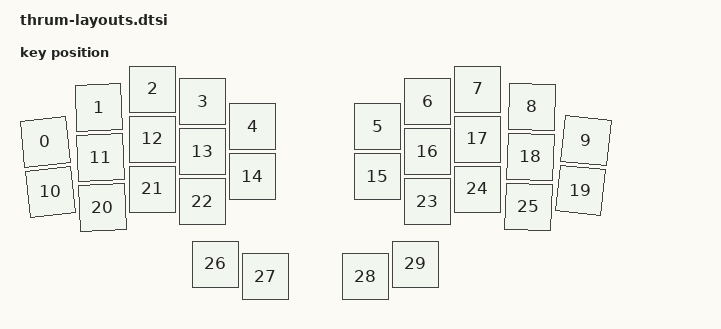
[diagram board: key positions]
#include <physical_layouts.dtsi>

/ {
    physical_layout0: physical_layout_0 {
        compatible = "zmk,physical-layout";
        display-name = "LAYOUT";

//        kscan = <&kscan0>;
//        transform = <&matrix_transform0>;

        keys  //                     w   h    x    y     rot    rx    ry
            = <&key_physical_attrs 100 100    0  100  (-600)   100   300>
            , <&key_physical_attrs 100 100  100   35  (-200)   200   325>
            , <&key_physical_attrs 100 100  200    0       0     0     0>
            , <&key_physical_attrs 100 100  300   25       0     0     0>
            , <&key_physical_attrs 100 100  400   75       0     0     0>
            , <&key_physical_attrs 100 100  650   75       0     0     0>
            , <&key_physical_attrs 100 100  750   25       0     0     0>
            , <&key_physical_attrs 100 100  850    0       0     0     0>
            , <&key_physical_attrs 100 100  950   35     200   975   325>
            , <&key_physical_attrs 100 100 1050  100     600  1075   300>
            , <&key_physical_attrs 100 100    0  200  (-600)   100   300>
            , <&key_physical_attrs 100 100  100  135  (-200)   200   325>
            , <&key_physical_attrs 100 100  200  100       0     0     0>
            , <&key_physical_attrs 100 100  300  125       0     0     0>
            , <&key_physical_attrs 100 100  400  175       0     0     0>
            , <&key_physical_attrs 100 100  650  175       0     0     0>
            , <&key_physical_attrs 100 100  750  125       0     0     0>
            , <&key_physical_attrs 100 100  850  100       0     0     0>
            , <&key_physical_attrs 100 100  950  135     200   975   325>
            , <&key_physical_attrs 100 100 1050  200     600  1075   300>
            , <&key_physical_attrs 100 100  100  235  (-200)   200   325>
            , <&key_physical_attrs 100 100  200  200       0     0     0>
            , <&key_physical_attrs 100 100  300  225       0     0     0>
            , <&key_physical_attrs 100 100  750  225       0     0     0>
            , <&key_physical_attrs 100 100  850  200       0     0     0>
            , <&key_physical_attrs 100 100  950  235     200   975   325>
            , <&key_physical_attrs 100 100  325  350       0     0     0>
            , <&key_physical_attrs 100 100  425  375       0     0     0>
            , <&key_physical_attrs 100 100  625  375       0     0     0>
            , <&key_physical_attrs 100 100  725  350       0     0     0>
            ;
    };
};

